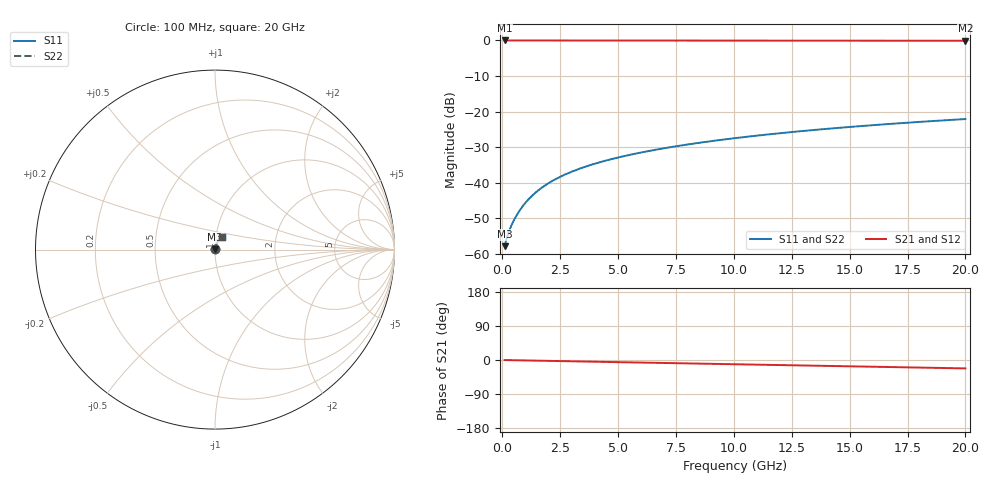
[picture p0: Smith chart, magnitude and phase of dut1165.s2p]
! Touchstone file exported from HFSS 2026.1.0
!  File:  C:/ffzhzh/LocalFiles/Ansys_Project_Files/temp_train_TMRDL_1165_1783162371_43440.aedt
!  Generated:  06:54:15 PM Jul  4, 2026
!  Design:  TMRDL
!  Project:  temp_train_TMRDL_1165_1783162371_43440
! Variables:
!  h_bsmrdl = 2um
!  h_ox = 20um
!  h_rdl = 5um
!  h_sub = 80um
!  h_tmrdl = 5.51um
!  h_tsv = 80um
!  h_via = 3um
!  l_bsmrdl = 300um
!  l_sub = 771.66um
!  l_tmrdl = 371.66um
!  m_sub = 200um
!  pitch = 38.26um
!  r_tsv = 6um
!  s_tmrdl = 10um
!  w_bsmrdl = 18um
!  w_sub = 500um
!  w_tmrdl = 28.22um
!  x_tsv_center1 = 385.77um
!  x_tsv_center2 = 703.77um
!  x_tsv_center3 = 1103.65um
!  x_tsv_center4 = 1421.65um
!  x_tsv_center5 = 1821.53um
!  x_tsv_center6 = 2139.53um
# GHz S MA R 50.000000
! Terminal data exported
! Port[1] = TM_RDL1_1_T1
! Port[2] = TM_RDL1_1_T2
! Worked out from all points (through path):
!   200 points, 100 MHz to 20 GHz, reference 50 ohm
!   highest |S21| = -0.01 dB at 100 MHz (marker M1); lowest = -0.1 dB at 20 GHz (marker M2)
!   group delay of S21, straight-line fit = 3.07 ps
!   lowest |S11| = -57.9 dB at 100 MHz (marker M3), VSWR 1.00, Z = 50.1 + j0.0688 ohm
!   |S11| at or under -10 dB: start of sweep to end of sweep
!   |S22| runs from -57.9 to -22.1 dB; largest |S21 - S12| = 1.5e-14
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0.1  0.001278 32.5  0.9989 -0.1  0.9989 -0.1  0.001278 32.5
! Gamma 0 0 0 0
! Port Impedance 50 0 50 0
0.2  0.001715 44.2  0.9988 -0.2  0.9988 -0.2  0.001716 44.2
0.3  0.002117 51.5  0.9987 -0.4  0.9987 -0.4  0.002118 51.5
0.4  0.002524 57.0  0.9986 -0.5  0.9986 -0.5  0.002525 57.0
0.5  0.002948 61.1  0.9985 -0.6  0.9985 -0.6  0.002948 61.1
0.6  0.003385 64.3  0.9985 -0.7  0.9985 -0.7  0.003386 64.3
0.8  0.00429 68.7  0.9984 -0.9  0.9984 -0.9  0.00429 68.6
1  0.005215 71.3  0.9983 -1.2  0.9983 -1.2  0.005215 71.3
1.2  0.006148 73.0  0.9982 -1.4  0.9982 -1.4  0.006147 73.0
1.4  0.00708 74.1  0.9982 -1.6  0.9982 -1.6  0.007079 74.1
1.7  0.008469 75.1  0.998 -2.0  0.998 -2.0  0.008468 75.1
2.2  0.01074 75.8  0.9977 -2.5  0.9977 -2.5  0.01074 75.8
2.8  0.0134 75.9  0.9974 -3.2  0.9974 -3.2  0.0134 75.9
3.5  0.01639 75.7  0.9969 -4.0  0.9969 -4.0  0.0164 75.7
4.2  0.01931 75.4  0.9965 -4.8  0.9965 -4.8  0.01931 75.4
5  0.02257 74.9  0.9961 -5.7  0.9961 -5.7  0.02257 74.9
6.8  0.02971 73.8  0.9951 -7.7  0.9951 -7.7  0.02972 73.8
8.3  0.03555 72.7  0.9944 -9.3  0.9944 -9.3  0.03555 72.7
10.1  0.04245 71.3  0.9936 -11.3  0.9936 -11.3  0.04245 71.3
13.4  0.05481 68.5  0.9921 -14.9  0.9921 -14.9  0.05482 68.4
16.7  0.06682 65.4  0.9906 -18.6  0.9906 -18.6  0.06683 65.3
20  0.07842 62.3  0.9891 -22.2  0.9891 -22.2  0.07845 62.2
